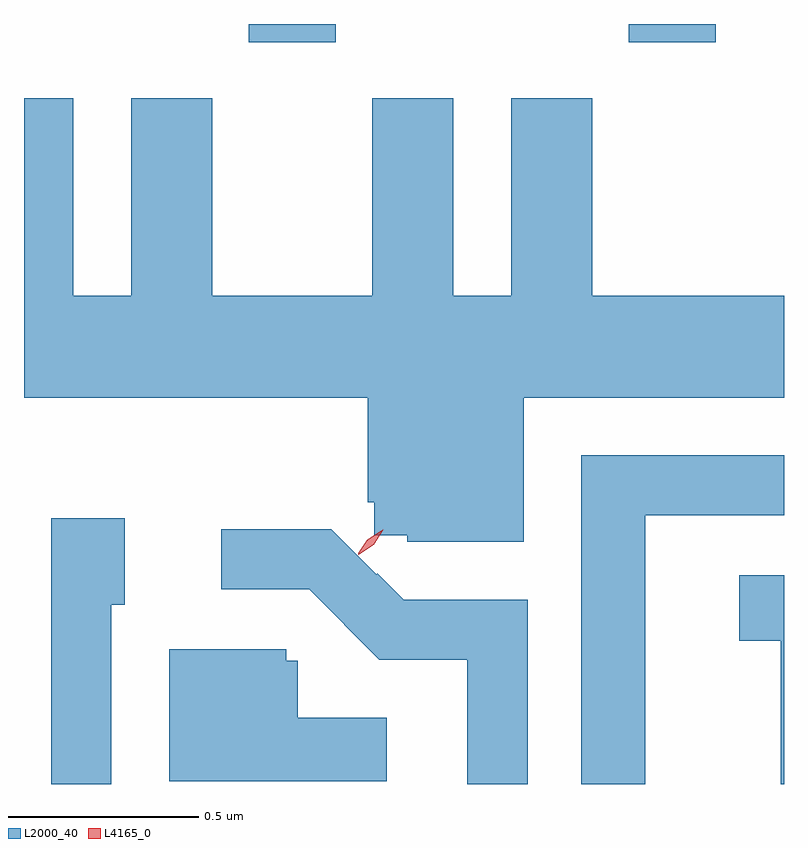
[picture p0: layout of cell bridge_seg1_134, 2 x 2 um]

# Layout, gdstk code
import gdstk
lib = gdstk.Library(unit=1e-6, precision=1e-09)
def R(c, l, rs):  # rectangles x0, y0, x1, y1
    for r in rs: c.add(gdstk.rectangle(r[:2], r[2:], *l))
def P(c, l, *ps):  # polygons
    for p in ps: c.add(gdstk.Polygon(p, *l))
L2000_40 = (2000, 40)
L4165_0 = (4165, 0)

bridge_seg1_134 = lib.new_cell('bridge_seg1_134')
R(bridge_seg1_134, L2000_40, [(1447.866,842.791,1448.094,842.839), (1448.866,842.791,1449.094,842.839)])
P(bridge_seg1_134, L2000_40, [(1448.589,841.856),(1449.274,841.856),(1449.274,842.124),(1448.769,842.124),(1448.769,842.644),(1448.556,842.644),(1448.556,842.124),(1448.404,842.124),(1448.404,842.644),(1448.191,842.644),(1448.191,842.124),(1447.769,842.124),(1447.769,842.644),(1447.556,842.644),(1447.556,842.124),(1447.404,842.124),(1447.404,842.644),(1447.274,842.644),(1447.274,841.856),(1448.179,841.856),(1448.179,841.58),(1448.196,841.58),(1448.196,841.493),(1448.283,841.493),(1448.283,841.476),(1448.589,841.476)],
  [(1448.909,841.546),(1449.274,841.546),(1449.274,841.704),(1448.741,841.704),(1448.741,840.839),(1448.909,840.839)],
  [(1447.504,841.311),(1447.539,841.311),(1447.539,841.539),(1447.346,841.539),(1447.346,840.839),(1447.504,840.839)],
  [(1448.599,841.324),(1448.273,841.324),(1448.204,841.393),(1448.202,841.39),(1448.083,841.509),(1447.793,841.509),(1447.793,841.351),(1448.024,841.351),(1448.209,841.166),(1448.441,841.166),(1448.441,840.839),(1448.599,840.839)],
  [(1449.274,841.389),(1449.156,841.389),(1449.156,841.216),(1449.266,841.216),(1449.266,840.839),(1449.274,840.839)],
  [(1448.228,841.014),(1447.994,841.014),(1447.994,841.164),(1447.964,841.164),(1447.964,841.194),(1447.656,841.194),(1447.656,840.846),(1448.228,840.846)])
P(bridge_seg1_134, L4165_0, [(1448.154,841.442),(1448.154,841.442),(1448.179,841.482),(1448.218,841.508),(1448.219,841.508),(1448.219,841.508),(1448.194,841.468),(1448.155,841.442)],
  [(1448.154,841.445),(1448.154,841.446),(1448.177,841.482),(1448.214,841.506),(1448.215,841.506),(1448.215,841.505),(1448.192,841.468),(1448.155,841.445)])

lib.write_gds('bridge_seg1_134.gds')
